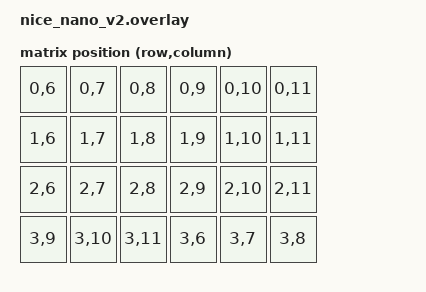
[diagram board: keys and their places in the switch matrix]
/*
 * Board-specific overlay for corne right half on nice!nano v2.
 *
 * The physical PCB routes thumb keys to local row 3, columns 3-5.
 * With the standard col-offset=6, local col 3 -> global col 9, which
 * is not in the keymap transform. This override sets col-offset=0 and
 * hardcodes all global positions so thumb keys land at RC(3,6..8).
 */

#include <dt-bindings/zmk/matrix_transform.h>

#ifdef CONFIG_SHIELD_CORNE_RIGHT
&default_transform {
    col-offset = <0>;
    columns = <6>;
    rows = <4>;
    map = <
/* row 0 */ RC(0,6)  RC(0,7)  RC(0,8)  RC(0,9)  RC(0,10) RC(0,11)
/* row 1 */ RC(1,6)  RC(1,7)  RC(1,8)  RC(1,9)  RC(1,10) RC(1,11)
/* row 2 */ RC(2,6)  RC(2,7)  RC(2,8)  RC(2,9)  RC(2,10) RC(2,11)
/* row 3: cols 0-2 = no physical switch, cols 3-5 = right thumb keys */
            RC(3,9)  RC(3,10) RC(3,11) RC(3,6)  RC(3,7)  RC(3,8)
    >;
};
#endif
